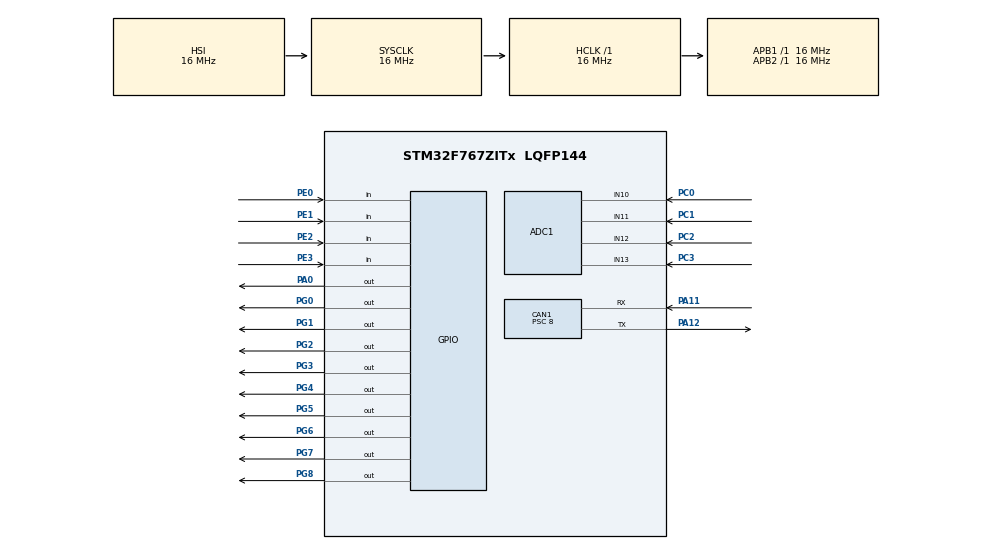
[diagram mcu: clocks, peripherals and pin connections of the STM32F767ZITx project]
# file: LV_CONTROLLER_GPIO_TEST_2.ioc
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ADC1.Channel-0\#ChannelRegularConversion=ADC_CHANNEL_10
ADC1.NbrOfConversionFlag=1
ADC1.Rank-0\#ChannelRegularConversion=1
ADC1.SamplingTime-0\#ChannelRegularConversion=ADC_SAMPLETIME_3CYCLES
ADC1.master=1
CAN1.BS1=CAN_BS1_2TQ
CAN1.CalculateBaudRate=500000
CAN1.CalculateTimeBit=2000
CAN1.CalculateTimeQuantum=500.0
CAN1.Prescaler=8
Mcu.Family=STM32F7
Mcu.Name=STM32F767ZITx
Mcu.Package=LQFP144
NVIC.CAN1_RX0_IRQn=true\:0\:0\:false\:false\:true\:true\:true
NVIC.CAN1_RX1_IRQn=true\:0\:0\:false\:false\:true\:true\:true
NVIC.PriorityGroup=NVIC_PRIORITYGROUP_4
PA0/WKUP.PinState=GPIO_PIN_SET
PA0/WKUP.Signal=GPIO_Output
PA11.Mode=CAN_Activate
PA11.Signal=CAN1_RX
PA12.Mode=CAN_Activate
PA12.Signal=CAN1_TX
PC0.Signal=ADCx_IN10
PC1.Signal=ADCx_IN11
PC2.Signal=ADCx_IN12
PC3.Signal=ADCx_IN13
PE0.Signal=GPIO_Input
PE1.Signal=GPIO_Input
PE2.Signal=GPIO_Input
PE3.Signal=GPIO_Input
PG0.PinState=GPIO_PIN_RESET
PG0.Signal=GPIO_Output
PG1.Signal=GPIO_Output
PG2.PinState=GPIO_PIN_SET
PG2.Signal=GPIO_Output
PG3.Signal=GPIO_Output
PG4.Signal=GPIO_Output
PG5.PinState=GPIO_PIN_RESET
PG5.Signal=GPIO_Output
PG6.PinState=GPIO_PIN_SET
PG6.Signal=GPIO_Output
PG7.PinState=GPIO_PIN_SET
PG7.Signal=GPIO_Output
PG8.PinState=GPIO_PIN_SET
PG8.Signal=GPIO_Output
ProjectManager.HeapSize=0x200
ProjectManager.StackSize=0x400
ProjectManager.TargetToolchain=STM32CubeIDE
RCC.AHBFreq_Value=16000000
RCC.APB1Freq_Value=16000000
RCC.APB1TimFreq_Value=16000000
RCC.APB2Freq_Value=16000000
RCC.APB2TimFreq_Value=16000000
RCC.CortexFreq_Value=16000000
RCC.HCLKFreq_Value=16000000
RCC.HSE_VALUE=25000000
RCC.HSI_VALUE=16000000
RCC.LSE_VALUE=32768
RCC.PLLN=432
RCC.SYSCLKFreq_VALUE=16000000
RCC.USBFreq_Value=216000000
RCC.VCOOutputFreq_Value=432000000
SH.ADCx_IN10.0=ADC1_IN10,IN10
SH.ADCx_IN11.0=ADC1_IN11,IN11
SH.ADCx_IN12.0=ADC1_IN12,IN12
SH.ADCx_IN13.0=ADC1_IN13,IN13
board=custom

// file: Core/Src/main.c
/* USER CODE BEGIN Header */
/**
  ******************************************************************************
  * @file           : main.c
  * @brief          : Main program body
  ******************************************************************************
  * @attention
  *
  * Copyright (c) 2022 STMicroelectronics.
  * All rights reserved.
  *
  * This software is licensed under terms that can be found in the LICENSE file
  * in the root directory of this software component.
  * If no LICENSE file comes with this software, it is provided AS-IS.
  *
  ******************************************************************************
  */
/* USER CODE END Header */
#include "main.h"

ADC_HandleTypeDef hadc1;

CAN_HandleTypeDef hcan1;

/* USER CODE BEGIN PV */
uint32_t txMailbox_CAN1;
/* USER CODE END PV */

void SystemClock_Config(void);
static void MX_GPIO_Init(void);
static void MX_ADC1_Init(void);
static void MX_CAN1_Init(void);
/* USER CODE BEGIN PFP */
static void CAN_Config(void);
/* USER CODE END PFP */

/* USER CODE BEGIN 0 */
CAN_HandleTypeDef     CanHandle;
CAN_TxHeaderTypeDef   TxHeader;
CAN_TxHeaderTypeDef   TxHeader2;
CAN_RxHeaderTypeDef   RxHeader;
uint8_t               TxData[8];
uint8_t               TxData2[8];
uint8_t               RxData[8];
uint32_t              TxMailbox;
/* USER CODE END 0 */

int main(void)
{

  /* MCU Configuration--------------------------------------------------------*/

  /* Reset of all peripherals, Initializes the Flash interface and the Systick. */
  HAL_Init();

  /* Configure the system clock */
  SystemClock_Config();

  /* Initialize all configured peripherals */
  MX_GPIO_Init();
  MX_ADC1_Init();
  MX_CAN1_Init();
  /* USER CODE BEGIN 2 */
  CAN_Config();
  if (HAL_CAN_ActivateNotification(&hcan1, CAN_IT_RX_FIFO0_MSG_PENDING) != HAL_OK)
  {
     /* Notification Error */
     Error_Handler();
  }

    TxHeader.StdId = 0x321;
    TxHeader.ExtId = 0x01;
    TxHeader.RTR = CAN_RTR_DATA;
    TxHeader.IDE = CAN_ID_STD;
    TxHeader.DLC = 8;
    TxHeader.TransmitGlobalTime = DISABLE;

    TxData[0] = 0x01;
    TxData[1] = 0xD1;
    TxData[2] = 0xE1;
    TxData[3] = 0xC1;
    TxData[4] = 0x00;
    TxData[5] = 0x01;
    TxData[6] = 0x02;
    TxData[7] = 0x03;
    TxData[8] = 0x04;

    TxHeader2.StdId = 0x511;
    TxHeader2.ExtId = 0x01;
    TxHeader2.RTR = CAN_RTR_DATA;
    TxHeader2.IDE = CAN_ID_STD;
    TxHeader2.DLC = 8;
    TxHeader2.TransmitGlobalTime = DISABLE;

    TxData2[0] = 0x04;
    TxData2[1] = 0x04;
    TxData2[2] = 0x04;
    TxData2[3] = 0x04;
    TxData2[4] = 0x04;
    TxData2[5] = 0x04;
    TxData2[6] = 0x04;
    TxData2[7] = 0x04;
    TxData2[8] = 0x04;

    int counter = 0;
    HAL_GPIO_WritePin(GPIOG, GPIO_PIN_7, GPIO_PIN_SET);
    //HAL_GPIO_TogglePin(GPIOG, GPIO_PIN_7);

    //HAL_GPIO_WritePin(GPIOG, GPIO_PIN_5, GPIO_PIN_SET);
  /* USER CODE END 2 */

  /* Infinite loop */
  while (1)
  {

    /* USER CODE BEGIN 3 */
	if (counter < 5)
	{
		HAL_CAN_AddTxMessage(&hcan1, &TxHeader, TxData, &TxMailbox);
		HAL_GPIO_TogglePin(GPIOG, GPIO_PIN_5);
		counter++;
	}
	else
	{
		HAL_CAN_AddTxMessage(&hcan1, &TxHeader2, TxData2, &TxMailbox);
		HAL_GPIO_TogglePin(GPIOG, GPIO_PIN_5);
		HAL_Delay(1000);
		counter = 0;
	}

	HAL_Delay(400);
  }
  /* USER CODE END 3 */
}

void SystemClock_Config(void)
{
  RCC_OscInitTypeDef RCC_OscInitStruct = {0};
  RCC_ClkInitTypeDef RCC_ClkInitStruct = {0};

  /** Configure the main internal regulator output voltage
  */
  __HAL_RCC_PWR_CLK_ENABLE();
  __HAL_PWR_VOLTAGESCALING_CONFIG(PWR_REGULATOR_VOLTAGE_SCALE3);
  /** Initializes the RCC Oscillators according to the specified parameters
  * in the RCC_OscInitTypeDef structure.
  */
  RCC_OscInitStruct.OscillatorType = RCC_OSCILLATORTYPE_HSI;
  RCC_OscInitStruct.HSIState = RCC_HSI_ON;
  RCC_OscInitStruct.HSICalibrationValue = RCC_HSICALIBRATION_DEFAULT;
  RCC_OscInitStruct.PLL.PLLState = RCC_PLL_NONE;
  if (HAL_RCC_OscConfig(&RCC_OscInitStruct) != HAL_OK)
  {
    Error_Handler();
  }
  /** Initializes the CPU, AHB and APB buses clocks
  */
  RCC_ClkInitStruct.ClockType = RCC_CLOCKTYPE_HCLK|RCC_CLOCKTYPE_SYSCLK
                              |RCC_CLOCKTYPE_PCLK1|RCC_CLOCKTYPE_PCLK2;
  RCC_ClkInitStruct.SYSCLKSource = RCC_SYSCLKSOURCE_HSI;
  RCC_ClkInitStruct.AHBCLKDivider = RCC_SYSCLK_DIV1;
  RCC_ClkInitStruct.APB1CLKDivider = RCC_HCLK_DIV1;
  RCC_ClkInitStruct.APB2CLKDivider = RCC_HCLK_DIV1;

  if (HAL_RCC_ClockConfig(&RCC_ClkInitStruct, FLASH_LATENCY_0) != HAL_OK)
  {
    Error_Handler();
  }
}

static void MX_ADC1_Init(void)
{

  ADC_ChannelConfTypeDef sConfig = {0};

  /** Configure the global features of the ADC (Clock, Resolution, Data Alignment and number of conversion)
  */
  hadc1.Instance = ADC1;
  hadc1.Init.ClockPrescaler = ADC_CLOCK_SYNC_PCLK_DIV2;
  hadc1.Init.Resolution = ADC_RESOLUTION_12B;
  hadc1.Init.ScanConvMode = ADC_SCAN_DISABLE;
  hadc1.Init.ContinuousConvMode = DISABLE;
  hadc1.Init.DiscontinuousConvMode = DISABLE;
  hadc1.Init.ExternalTrigConvEdge = ADC_EXTERNALTRIGCONVEDGE_NONE;
  hadc1.Init.ExternalTrigConv = ADC_SOFTWARE_START;
  hadc1.Init.DataAlign = ADC_DATAALIGN_RIGHT;
  hadc1.Init.NbrOfConversion = 1;
  hadc1.Init.DMAContinuousRequests = DISABLE;
  hadc1.Init.EOCSelection = ADC_EOC_SINGLE_CONV;
  if (HAL_ADC_Init(&hadc1) != HAL_OK)
  {
    Error_Handler();
  }
  /** Configure for the selected ADC regular channel its corresponding rank in the sequencer and its sample time.
  */
  sConfig.Channel = ADC_CHANNEL_10;
  sConfig.Rank = ADC_REGULAR_RANK_1;
  sConfig.SamplingTime = ADC_SAMPLETIME_3CYCLES;
  if (HAL_ADC_ConfigChannel(&hadc1, &sConfig) != HAL_OK)
  {
    Error_Handler();
  }

}

static void MX_CAN1_Init(void)
{

  hcan1.Instance = CAN1;
  hcan1.Init.Prescaler = 8;
  hcan1.Init.Mode = CAN_MODE_NORMAL;
  hcan1.Init.SyncJumpWidth = CAN_SJW_1TQ;
  hcan1.Init.TimeSeg1 = CAN_BS1_2TQ;
  hcan1.Init.TimeSeg2 = CAN_BS2_1TQ;
  hcan1.Init.TimeTriggeredMode = DISABLE;
  hcan1.Init.AutoBusOff = DISABLE;
  hcan1.Init.AutoWakeUp = DISABLE;
  hcan1.Init.AutoRetransmission = DISABLE;
  hcan1.Init.ReceiveFifoLocked = DISABLE;
  hcan1.Init.TransmitFifoPriority = DISABLE;
  if (HAL_CAN_Init(&hcan1) != HAL_OK)
  {
    Error_Handler();
  }

}

static void MX_GPIO_Init(void)
{
  GPIO_InitTypeDef GPIO_InitStruct = {0};

  /* GPIO Ports Clock Enable */
  __HAL_RCC_GPIOE_CLK_ENABLE();
  __HAL_RCC_GPIOC_CLK_ENABLE();
  __HAL_RCC_GPIOA_CLK_ENABLE();
  __HAL_RCC_GPIOG_CLK_ENABLE();

  /*Configure GPIO pin Output Level */
  HAL_GPIO_WritePin(GPIOA, GPIO_PIN_0, GPIO_PIN_SET);

  /*Configure GPIO pin Output Level */
  HAL_GPIO_WritePin(GPIOG, GPIO_PIN_0|GPIO_PIN_1|GPIO_PIN_3|GPIO_PIN_4
                          |GPIO_PIN_5, GPIO_PIN_RESET);

  /*Configure GPIO pin Output Level */
  HAL_GPIO_WritePin(GPIOG, GPIO_PIN_2|GPIO_PIN_6|GPIO_PIN_7|GPIO_PIN_8, GPIO_PIN_SET);

  /*Configure GPIO pins : PE2 PE3 PE0 PE1 */
  GPIO_InitStruct.Pin = GPIO_PIN_2|GPIO_PIN_3|GPIO_PIN_0|GPIO_PIN_1;
  GPIO_InitStruct.Mode = GPIO_MODE_INPUT;
  GPIO_InitStruct.Pull = GPIO_NOPULL;
  HAL_GPIO_Init(GPIOE, &GPIO_InitStruct);

  /*Configure GPIO pin : PA0 */
  GPIO_InitStruct.Pin = GPIO_PIN_0;
  GPIO_InitStruct.Mode = GPIO_MODE_OUTPUT_PP;
  GPIO_InitStruct.Pull = GPIO_NOPULL;
  GPIO_InitStruct.Speed = GPIO_SPEED_FREQ_LOW;
  HAL_GPIO_Init(GPIOA, &GPIO_InitStruct);

  /*Configure GPIO pins : PG0 PG1 PG2 PG3
                           PG4 PG5 PG6 PG7
                           PG8 */
  GPIO_InitStruct.Pin = GPIO_PIN_0|GPIO_PIN_1|GPIO_PIN_2|GPIO_PIN_3
                          |GPIO_PIN_4|GPIO_PIN_5|GPIO_PIN_6|GPIO_PIN_7
                          |GPIO_PIN_8;
  GPIO_InitStruct.Mode = GPIO_MODE_OUTPUT_PP;
  GPIO_InitStruct.Pull = GPIO_NOPULL;
  GPIO_InitStruct.Speed = GPIO_SPEED_FREQ_LOW;
  HAL_GPIO_Init(GPIOG, &GPIO_InitStruct);

}

/* USER CODE BEGIN 4 */
static void CAN_Config(void)
{
	CAN_FilterTypeDef  sFilterConfig;
	sFilterConfig.FilterBank = 0;
	sFilterConfig.FilterMode = CAN_FILTERMODE_IDMASK;
	sFilterConfig.FilterScale = CAN_FILTERSCALE_32BIT;
	sFilterConfig.FilterIdHigh = 0x0000;
	sFilterConfig.FilterIdLow = 0x0000;
	sFilterConfig.FilterMaskIdHigh = 0x0000;
	sFilterConfig.FilterMaskIdLow = 0x0000;
	sFilterConfig.FilterFIFOAssignment = CAN_RX_FIFO0;
	sFilterConfig.FilterActivation = ENABLE;
	sFilterConfig.SlaveStartFilterBank = 14;

	if (HAL_CAN_ConfigFilter(&hcan1, &sFilterConfig) != HAL_OK)
	  {
	    /* Filter configuration Error */
	    Error_Handler();
	  }

	if (HAL_CAN_Start(&hcan1) != HAL_OK)
	{
	    /* Start Error */
	    Error_Handler();
	}

}

void HAL_CAN_RxFifo0MsgPendingCallback(CAN_HandleTypeDef *hcan)
{
  /* Get RX message */
  if (HAL_CAN_GetRxMessage(hcan, CAN_RX_FIFO0, &RxHeader, RxData) != HAL_OK)
  {
    /* Reception Error */
    Error_Handler();
  }

  //HAL_GPIO_TogglePin(GPIOG, GPIO_PIN_7);
}
/* USER CODE END 4 */

void Error_Handler(void)
{
  /* USER CODE BEGIN Error_Handler_Debug */
  /* User can add his own implementation to report the HAL error return state */
  HAL_GPIO_WritePin(GPIOG, GPIO_PIN_5, GPIO_PIN_SET);
  __disable_irq();
  while (1)
  {
  }
  /* USER CODE END Error_Handler_Debug */
}
